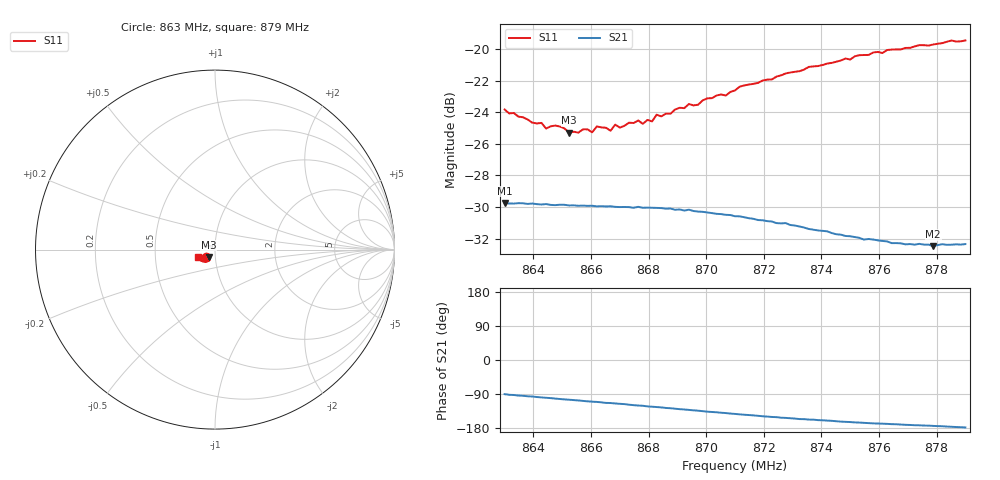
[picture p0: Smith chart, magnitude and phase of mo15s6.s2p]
# HZ S RI R 50
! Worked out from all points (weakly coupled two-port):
!   101 points, 863 MHz to 879 MHz, reference 50 ohm
!   highest |S21| = -29.76 dB at 863 MHz (marker M1); lowest = -32.5 dB at 877.88 MHz (marker M2)
!   lowest |S11| = -25.3 dB at 865.24 MHz (marker M3), VSWR 1.11, Z = 46.4 - j3.78 ohm
!   |S11| at or under -10 dB: start of sweep to end of sweep
!   S12 and S22 are empty: the file has one direction only
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8.63e8  -0.0499 -0.0406  -5.5e-05 -0.0325  0 0  0 0
8.6396e8  -0.0436 -0.0389  -0.00359 -0.0322  0 0  0 0
8.6428e8  -0.0406 -0.0419  -0.00491 -0.0318  0 0  0 0
8.6444e8  -0.0394 -0.0398  -0.00543 -0.0318  0 0  0 0
8.6476e8  -0.0398 -0.0411  -0.00658 -0.0314  0 0  0 0
8.6524e8  -0.036 -0.0406  -0.00817 -0.0309  0 0  0 0
8.6572e8  -0.0342 -0.0439  -0.00986 -0.0304  0 0  0 0
8.6604e8  -0.033 -0.0433  -0.0109 -0.03  0 0  0 0
8.662e8  -0.0348 -0.045  -0.0112 -0.0297  0 0  0 0
8.6668e8  -0.0318 -0.045  -0.0127 -0.0291  0 0  0 0
8.6684e8  -0.0329 -0.0473  -0.0132 -0.0287  0 0  0 0
8.67e8  -0.0315 -0.0467  -0.0137 -0.0285  0 0  0 0
8.6764e8  -0.0315 -0.0503  -0.0159 -0.0274  0 0  0 0
8.678e8  -0.0301 -0.0495  -0.0161 -0.027  0 0  0 0
8.6812e8  -0.0303 -0.0506  -0.0172 -0.0263  0 0  0 0
8.6828e8  -0.0312 -0.0535  -0.0176 -0.026  0 0  0 0
8.6844e8  -0.0315 -0.0524  -0.018 -0.0256  0 0  0 0
8.71e8  -0.038 -0.0634  -0.0234 -0.0181  0 0  0 0
8.7372e8  -0.0557 -0.0682  -0.0247 -0.0103  0 0  0 0
8.7644e8  -0.0795 -0.0599  -0.0239 -0.00452  0 0  0 0
8.7788e8  -0.0899 -0.0507  -0.0236 -0.00252  0 0  0 0
8.79e8  -0.0973 -0.043  -0.0241 -0.000845  0 0  0 0
